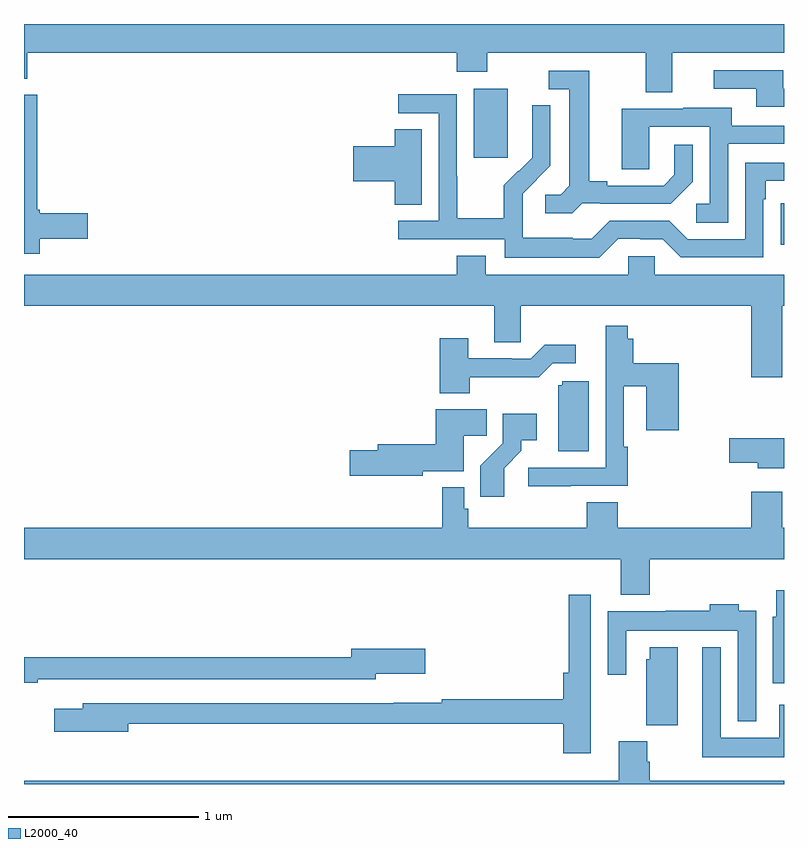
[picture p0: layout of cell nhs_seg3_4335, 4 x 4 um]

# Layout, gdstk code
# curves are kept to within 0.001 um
import gdstk
lib = gdstk.Library(unit=1e-6, precision=1e-09)
def R(c, l, rs):  # rectangles x0, y0, x1, y1
    for r in rs: c.add(gdstk.rectangle(r[:2], r[2:], *l))
def P(c, l, *ps):  # polygons
    for p in ps: c.add(gdstk.Polygon(p, *l))
L2000_40 = (2000, 40)

nhs_seg3_4335 = lib.new_cell('nhs_seg3_4335')
R(nhs_seg3_4335, L2000_40, [(344.983,701.238,345,701.456), (343.367,701.697,343.546,702.058)])
P(nhs_seg3_4335, L2000_40, [(344.413,702.248),(345,702.248),(345,702.4),(341,702.4),(341,702.112),(341.018,702.112),(341.018,702.248),(343.277,702.248),(343.277,702.149),(343.437,702.149),(343.437,702.248),(344.273,702.248),(344.273,702.04),(344.413,702.04)],
  [(345,702.06),(344.995,702.06),(344.995,702.156),(344.631,702.156),(344.631,702.06),(344.855,702.06),(344.855,701.964),(345,701.964)],
  [(343.938,701.457),(344.032,701.457),(344.032,701.454),(344.404,701.454),(344.52,701.57),(344.52,701.764),(344.423,701.764),(344.423,701.607),(344.366,701.55),(344.071,701.55),(344.071,701.573),(343.975,701.573),(343.975,702.153),(343.761,702.153),(343.761,702.057),(343.871,702.057),(343.871,701.549),(343.824,701.502),(343.743,701.502),(343.743,701.405),(343.886,701.405)],
  [(344.127,701.271),(344.243,701.271),(344.243,701.268),(344.361,701.268),(344.457,701.172),(344.892,701.172),(344.892,701.477),(344.905,701.477),(344.905,701.574),(345,701.574),(345,701.67),(344.796,701.67),(344.796,701.268),(344.493,701.268),(344.397,701.364),(344.082,701.364),(343.989,701.271),(343.889,701.271),(343.889,701.275),(343.626,701.275),(343.626,701.409),(343.624,701.409),(343.624,701.506),(343.77,701.654),(343.77,701.972),(343.674,701.972),(343.674,701.818),(343.676,701.818),(343.676,701.696),(343.605,701.625),(343.602,701.628),(343.525,701.551),(343.525,701.377),(343.281,701.377),(343.281,701.6),(343.278,701.6),(343.278,702.03),(342.969,702.03),(342.969,701.931),(343.182,701.931),(343.182,701.364),(342.969,701.364),(342.969,701.268),(343.53,701.268),(343.53,701.171),(344.027,701.171)],
  [(341.082,701.27),(341.335,701.27),(341.335,701.405),(341.082,701.405),(341.082,701.423),(341.069,701.423),(341.069,702.027),(341,702.027),(341,701.192),(341.082,701.192)],
  [(344.706,701.769),(345,701.769),(345,701.865),(344.725,701.865),(344.725,701.959),(344.471,701.959),(344.471,701.955),(344.147,701.955),(344.147,701.635),(344.292,701.635),(344.292,701.859),(344.61,701.859),(344.61,701.454),(344.538,701.454),(344.538,701.353),(344.706,701.353)],
  [(343.093,701.846),(342.95,701.846),(342.95,701.756),(342.732,701.756),(342.732,701.573),(342.95,701.573),(342.95,701.449),(343.093,701.449)],
  [(344.992,700.916),(345,700.916),(345,701.08),(344.319,701.08),(344.319,701.178),(344.181,701.178),(344.181,701.08),(343.429,701.08),(343.429,701.179),(343.277,701.179),(343.277,701.08),(341,701.08),(341,700.916),(343.475,700.916),(343.475,700.726),(343.614,700.726),(343.614,700.916),(344.828,700.916),(344.828,700.542),(344.992,700.542)],
  [(343.877,699.969),(344.177,699.969),(344.177,700.175),(344.157,700.175),(344.157,700.493),(344.276,700.493),(344.276,700.263),(344.447,700.263),(344.447,700.615),(344.207,700.615),(344.207,700.744),(344.177,700.744),(344.177,700.813),(344.061,700.813),(344.061,700.065),(343.653,700.065),(343.653,699.967),(343.877,699.967)],
  [(343.347,700.542),(343.709,700.541),(343.782,700.614),(343.903,700.614),(343.903,700.711),(343.741,700.711),(343.668,700.638),(343.568,700.638),(343.568,700.641),(343.339,700.641),(343.339,700.747),(343.187,700.747),(343.187,700.457),(343.347,700.457)],
  [(343.972,700.521),(343.833,700.521),(343.833,700.5),(343.811,700.5),(343.811,700.152),(343.972,700.152)],
  [(343.098,700.046),(343.315,700.046),(343.315,700.234),(343.436,700.234),(343.436,700.372),(343.166,700.372),(343.166,700.187),(342.863,700.187),(342.863,700.157),(342.714,700.157),(342.714,700.022),(343.098,700.022)],
  [(343.528,700.063),(343.618,700.153),(343.618,700.208),(343.699,700.208),(343.699,700.348),(343.521,700.348),(343.521,700.193),(343.402,700.074),(343.402,699.912),(343.528,699.912)],
  [(345,700.221),(344.712,700.221),(344.712,700.091),(344.861,700.091),(344.861,700.061),(345,700.061)],
  [(344.294,699.584),(345,699.584),(345,699.748),(344.992,699.748),(344.992,699.937),(344.828,699.937),(344.828,699.748),(344.126,699.748),(344.126,699.884),(343.961,699.884),(343.961,699.748),(343.337,699.748),(343.337,699.849),(343.317,699.849),(343.317,699.961),(343.201,699.961),(343.201,699.748),(341,699.748),(341,699.584),(344.141,699.584),(344.141,699.395),(344.294,699.395)],
  [(345,699.421),(344.96,699.421),(344.96,699.279),(344.942,699.279),(344.942,698.931),(345,698.931)],
  [(343.984,698.823),(343.983,698.823),(343.983,699.397),(343.867,699.397),(343.867,698.986),(343.838,698.986),(343.838,698.846),(343.198,698.846),(343.198,698.827),(342.946,698.827),(342.946,698.826),(341.309,698.826),(341.309,698.797),(341.16,698.797),(341.16,698.675),(341.548,698.675),(341.548,698.718),(343.838,698.718),(343.838,698.562),(343.984,698.562)],
  [(344.853,699.313),(344.761,699.313),(344.761,699.346),(344.609,699.346),(344.609,699.313),(344.377,699.313),(344.377,699.31),(344.073,699.31),(344.073,698.976),(344.169,698.976),(344.169,699.206),(344.757,699.206),(344.757,698.729),(344.853,698.729)],
  [(345,698.818),(344.976,698.818),(344.976,698.644),(344.667,698.644),(344.667,699.121),(344.57,699.121),(344.57,698.54),(345,698.54)],
  [(344.44,699.121),(344.294,699.121),(344.294,699.057),(344.276,699.057),(344.276,698.71),(344.44,698.71)],
  [(341.072,698.952),(342.85,698.952),(342.85,698.981),(343.111,698.981),(343.111,699.111),(342.722,699.111),(342.722,699.068),(341,699.068),(341,698.932),(341.072,698.932)],
  [(345,698.416),(344.294,698.416),(344.294,698.516),(344.281,698.516),(344.281,698.625),(344.129,698.625),(344.129,698.416),(341,698.416),(341,698.4),(345,698.4)])

lib.write_gds('nhs_seg3_4335.gds')
